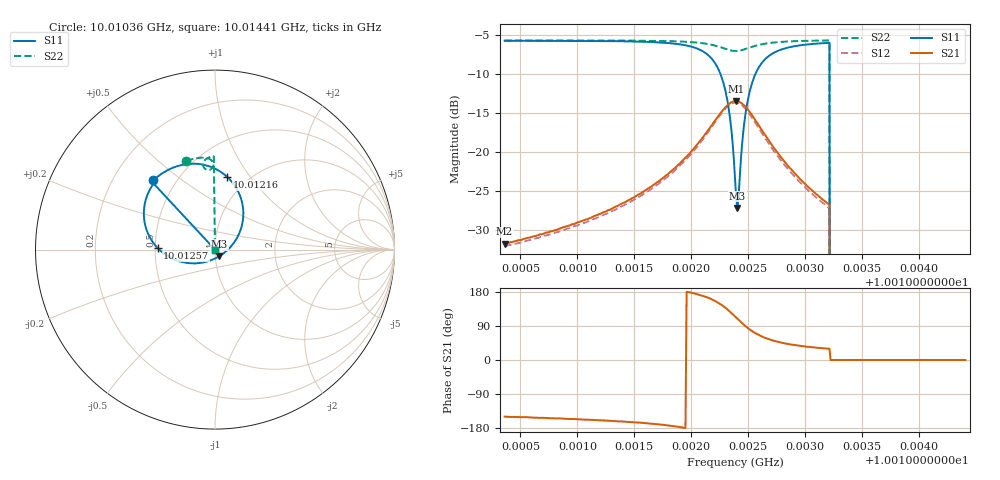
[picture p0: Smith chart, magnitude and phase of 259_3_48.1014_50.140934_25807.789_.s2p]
#  HZ  S  RI  R  50.00
! Rohde & Schwarz Vector Network Analyzer
! Rohde-Schwarz,ZNB20-2Port,1311601062101988,3.16
! Created: UTC 12/23/2023, 4:00:35 AM
! freq[Hz]  re:S11  im:S11  re:S21  im:S21  re:S12  im:S12  re:S22  im:S22
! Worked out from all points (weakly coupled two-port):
!   401 points, 10.01036 GHz to 10.01441 GHz, reference 50 ohm
!   highest |S21| = -13.46 dB at 10.01239 GHz (marker M1); lowest = -31.7 dB at 10.01036 GHz (marker M2)
!   lowest |S11| = -27.1 dB at 10.0124 GHz (marker M3), VSWR 1.09, Z = 52.3 - j3.88 ohm
!   |S11| at or under -10 dB: 10.01226 GHz to 10.01256 GHz (305.9 kHz wide, 0.00305 % of centre); 10.01321 GHz to end of sweep
!   |S22| runs from - to -5.7 dB; largest |S21 - S12| = 0.01
!   S11 on the Smith chart (normalised r, x): 10.01036 GHz: 0.37, +0.39; 10.01216 GHz: 0.81, +0.78; 10.01257 GHz: 0.51, +0.01; 10.01441 GHz: 1.00, +0.00
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1.0010362e10  -0.3454 0.3852  -0.0223 -0.0132  -0.0209 -0.0138  -0.1596 0.4941
1.0011039e10  -0.2889 0.4283  -0.0333 -0.0142  -0.0312 -0.0153  -0.1145 0.5067
1.0011716e10  -0.176 0.4737  -0.0643 -0.0115  -0.0613 -0.0143  -0.0621 0.5124
1.0011999e10  -0.0573 0.4713  -0.101 0.00411  -0.0977 -0.00111  -0.033 0.5063
1.0012161e10  0.0682 0.4048  -0.1362 0.0424  -0.1344 0.0341  -0.0143 0.4908
1.0012242e10  0.1372 0.3056  -0.149 0.0866  -0.1502 0.0771  -0.00883 0.4743
1.0012303e10  0.1573 0.1835  -0.1431 0.1326  -0.1461 0.1234  -0.0123 0.4589
1.0012343e10  0.133 0.0857  -0.1228 0.1664  -0.1275 0.1581  -0.0206 0.4491
1.0012383e10  0.0687 -0.00318  -0.0894 0.1925  -0.094 0.1855  -0.0327 0.444
1.0012394e10  0.047 -0.0212  -0.0795 0.1969  -0.085 0.1897  -0.0362 0.4436
1.0012404e10  0.0237 -0.0371  -0.0694 0.2002  -0.0748 0.1932  -0.0395 0.4437
1.0012424e10  -0.027 -0.0608  -0.0488 0.2038  -0.054 0.1971  -0.0461 0.4449
1.0012454e10  -0.1065 -0.0766  -0.018 0.2016  -0.0223 0.1952  -0.0551 0.4497
1.0012485e10  -0.1816 -0.0696  0.00966 0.1919  0.00453 0.1857  -0.0613 0.4565
1.0012525e10  -0.2624 -0.0369  0.0368 0.1721  0.0301 0.1668  -0.0657 0.4666
1.0012565e10  -0.3201 0.00953  0.0535 0.1498  0.0471 0.1455  -0.0663 0.4764
1.0012727e10  -0.3956 0.1796  0.0673 0.0819  0.0612 0.0807  -0.0531 0.5016
1.0013061e10  -0.3626 0.335  0.0473 0.0316  0.0435 0.032  -0.0197 0.5176
1.0013192e10  -0.3446 0.3641  0.041 0.0236  0.0379 0.0243  -0.00838 0.5195
1.0013243e10  0 0  0 0  0 0  0 0
1.0013738e10  0 0  0 0  0 0  0 0
1.0014405e10  0 0  0 0  0 0  0 0
